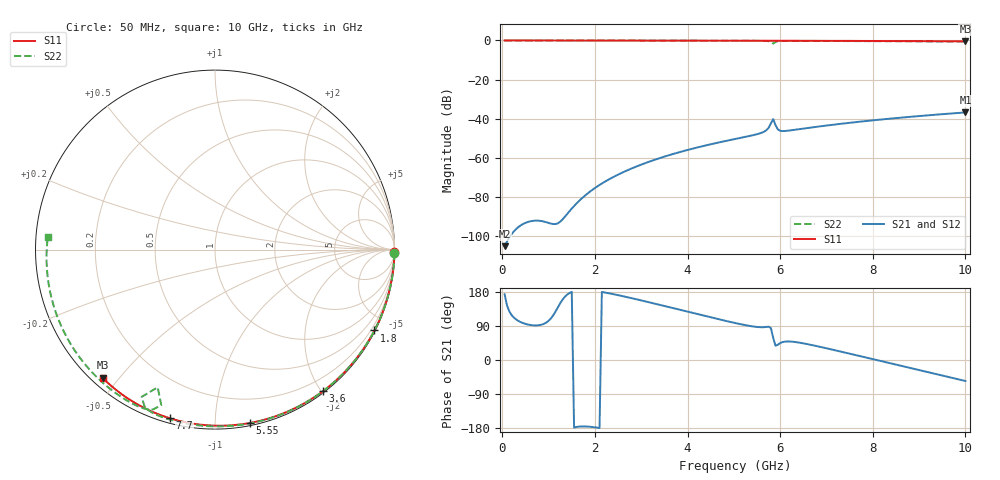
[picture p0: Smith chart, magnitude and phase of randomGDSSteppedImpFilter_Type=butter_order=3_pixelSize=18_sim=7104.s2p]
! freq	dB(S11)	phase(S11)	dB(S12)	phase(S12)
!  dB(S21)	phase(S21)	dB(S22)	phase(S22)
!S-par simulation data
#  GHz  S  DB  R 50
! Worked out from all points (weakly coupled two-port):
!   200 points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, 50 MHz to 10 GHz, reference 50 ohm
!   highest |S21| = -36.84 dB at 10 GHz (marker M1); lowest = -105.3 dB at 50 MHz (marker M2)
!   lowest |S11| = -0.4 dB at 10 GHz (marker M3), VSWR 39.15, Z = 1.54 - j22.6 ohm
!   |S11| at or under -10 dB: nowhere
!   |S22| runs from -1.6 to 0.0 dB; largest |S21 - S12| = 0
!   S11 on the Smith chart (normalised r, x): 50 MHz: open; 1.8 GHz: 0.04, -4.18; 3.6 GHz: 0.02, -2.02; 5.55 GHz: 0.02, -1.22; 7.7 GHz: 0.02, -0.77; 10 GHz: 0.03, -0.45
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0.05  -0.00 -0.8  -105.30 173.5  -105.30 173.5  -0.00 -1.1
0.85  -0.01 -12.8  -92.45 93.3  -92.45 93.3  -0.02 -17.9
1.75  -0.03 -26.2  -80.12 -175.2  -80.12 -175.2  -0.05 -36.5
1.8  -0.03 -26.9  -79.12 -175.4  -79.12 -175.4  -0.05 -37.5
2.1  -0.04 -31.3  -73.96 -179.4  -73.96 -179.4  -0.06 -43.6
2.45  -0.05 -36.3  -69.26 172.5  -69.26 172.5  -0.06 -50.6
3.4  -0.07 -49.8  -60.21 145.5  -60.21 145.5  -0.09 -69.0
3.6  -0.07 -52.6  -58.73 139.6  -58.73 139.6  -0.10 -72.8
4.3  -0.09 -62.2  -54.25 118.6  -54.25 118.6  -0.12 -85.7
5.05  -0.11 -72.1  -50.32 97.0  -50.32 97.0  -0.15 -99.3
5.55  -0.13 -78.6  -47.64 86.6  -47.64 86.6  -0.20 -108.8
5.75  -0.14 -81.1  -44.76 87.9  -44.76 87.9  -0.39 -114.3
5.8  -0.14 -81.7  -42.45 84.4  -42.45 84.4  -0.76 -116.5
5.85  -0.14 -82.4  -40.27 58.5  -40.27 58.5  -1.61 -112.6
5.9  -0.14 -83.0  -43.35 37.6  -43.35 37.6  -0.75 -109.0
5.95  -0.14 -83.6  -45.51 40.3  -45.51 40.3  -0.40 -111.2
6  -0.15 -84.3  -46.21 44.5  -46.21 44.5  -0.30 -112.9
6.7  -0.18 -92.9  -44.47 39.0  -44.47 39.0  -0.25 -126.6
7.7  -0.24 -104.9  -41.63 11.0  -41.63 11.0  -0.33 -143.6
8.35  -0.29 -112.5  -40.07 -7.8  -40.07 -7.8  -0.39 -154.7
9.2  -0.36 -122.2  -38.30 -32.3  -38.30 -32.3  -0.49 -169.5
10  -0.44 -131.3  -36.84 -55.4  -36.84 -55.4  -0.59 175.8
